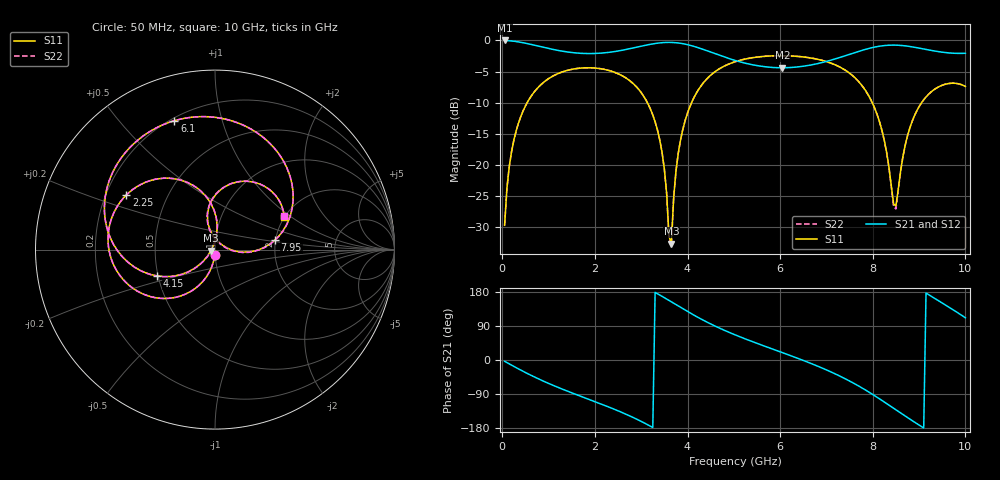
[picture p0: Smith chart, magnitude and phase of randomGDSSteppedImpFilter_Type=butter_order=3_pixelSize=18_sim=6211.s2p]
! freq	dB(S11)	phase(S11)	dB(S12)	phase(S12)
!  dB(S21)	phase(S21)	dB(S22)	phase(S22)
!S-par simulation data
#  GHz  S  DB  R 50
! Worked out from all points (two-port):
!   200 points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, 50 MHz to 10 GHz, reference 50 ohm
!   highest |S21| = -0.01 dB at 50 MHz (marker M1); lowest = -4.4 dB at 6.05 GHz (marker M2)
!   |S21| within 3 dB of the highest: start of sweep to 4.934 GHz; 7.173 GHz to end of sweep
!   lowest |S11| = -32.7 dB at 3.65 GHz (marker M3), VSWR 1.05, Z = 47.8 - j0.498 ohm
!   |S11| at or under -10 dB: start of sweep to 538.3 MHz; 3.132 GHz to 4.088 GHz (955.9 MHz wide, 26.5 % of centre); 7.988 GHz to 9.056 GHz (1.068 GHz wide, 12.5 % of centre)
!   |S22| runs from -33.1 to -2.5 dB; largest |S21 - S12| = 0
!   S11 on the Smith chart (normalised r, x): 50 MHz: 0.99, -0.06; 2.25 GHz: 0.29, +0.26; 4.15 GHz: 0.49, -0.17; 6.1 GHz: 0.21, +0.71; 7.95 GHz: 1.98, +0.24; 10 GHz: 1.98, +0.89
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0.05  -29.72 -93.6  -0.01 -3.5  -0.01 -3.5  -29.72 -93.6
0.2  -17.88 -104.0  -0.09 -13.6  -0.09 -13.6  -17.88 -104.0
0.5  -10.53 -123.5  -0.45 -33.0  -0.45 -33.0  -10.53 -123.5
1.05  -5.91 -154.9  -1.38 -64.4  -1.38 -64.4  -5.91 -154.9
1.75  -4.42 171.4  -2.10 -98.3  -2.10 -98.3  -4.42 171.4
2.25  -4.73 148.3  -1.97 -121.6  -1.97 -121.6  -4.73 148.3
3  -8.40 109.2  -0.93 -162.0  -0.93 -162.0  -8.40 109.0
3.4  -15.98 86.6  -0.40 171.5  -0.40 171.5  -15.99 86.1
3.65  -32.68 -167.1  -0.33 153.5  -0.33 153.5  -33.07 -164.7
3.8  -18.12 -136.0  -0.41 142.5  -0.41 142.5  -18.13 -135.4
4.15  -9.02 -155.5  -0.99 117.5  -0.99 117.5  -9.03 -155.3
5.05  -3.37 154.4  -3.27 65.2  -3.27 65.2  -3.37 154.5
6.05  -2.46 109.6  -4.40 19.4  -4.40 19.4  -2.46 109.7
6.1  -2.46 107.4  -4.40 17.2  -4.40 17.2  -2.47 107.5
6.7  -2.88 80.2  -3.90 -10.8  -3.90 -10.8  -2.88 80.2
7.4  -4.76 43.2  -2.48 -49.2  -2.48 -49.2  -4.76 43.1
7.95  -9.42 9.1  -1.23 -87.2  -1.23 -87.2  -9.43 8.8
8.35  -20.41 -1.8  -0.77 -119.1  -0.77 -119.1  -20.52 -3.1
8.5  -26.60 65.2  -0.76 -131.4  -0.76 -131.4  -27.07 66.3
8.75  -15.32 103.9  -0.93 -151.9  -0.93 -151.9  -15.35 104.8
9.1  -9.54 84.9  -1.38 -179.5  -1.38 -179.5  -9.55 85.3
10  -7.40 25.6  -2.06 111.3  -2.06 111.3  -7.41 25.6
